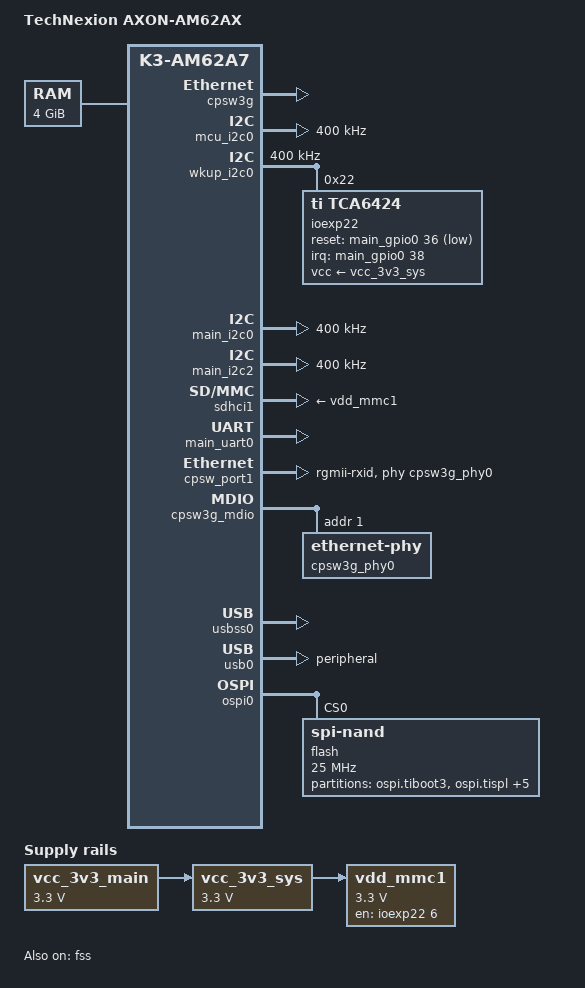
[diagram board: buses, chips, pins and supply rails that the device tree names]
// SPDX-License-Identifier: GPL-2.0
/*
 * Copyright (C) 2022 Texas Instruments Incorporated - https://www.ti.com/\
 * Copyright 2023 TechNexion Ltd.
 * Author: Ray Chang <ray.chang@technexion.com>
 */

/dts-v1/;

#include <dt-bindings/leds/common.h>
#include <dt-bindings/gpio/gpio.h>
#include <dt-bindings/net/ti-dp83867.h>
#include "k3-am62a7.dtsi"

/ {
	compatible =  "technexion,am62a7-axon", "ti,am62a7";
	model = "TechNexion AXON-AM62AX";

	aliases {
		serial2 = &main_uart0;
		mmc0 = &sdhci0;
		mmc1 = &sdhci1;
		remoteproc0 = &mcu_r5fss0_core0;
		remoteproc1 = &c7x_0;
		spi0 = &ospi0;
	};

	chosen {
		stdout-path = "serial2:115200n8";
	};

	memory@80000000 {
		device_type = "memory";
		/* 4G RAM */
		reg = <0x00000000 0x80000000 0x00000000 0x80000000>,
		      <0x00000008 0x80000000 0x00000000 0x80000000>;
	};

	reserved-memory {
		#address-cells = <2>;
		#size-cells = <2>;
		ranges;

		secure_tfa_ddr: tfa@9e780000 {
			reg = <0x00 0x9e780000 0x00 0x80000>;
			alignment = <0x1000>;
			no-map;
		};

		secure_ddr: optee@9e800000 {
			reg = <0x00 0x9e800000 0x00 0x01800000>; /* for OP-TEE */
			alignment = <0x1000>;
			no-map;
		};

		wkup_r5fss0_core0_memory_region: r5f-dma-memory@9c900000 {
			compatible = "shared-dma-pool";
			reg = <0x00 0x9c900000 0x00 0x01e00000>;
			no-map;
		};

		mcu_r5fss0_core0_dma_memory_region: r5f-dma-memory@9b800000 {
			compatible = "shared-dma-pool";
			reg = <0x00 0x9b800000 0x00 0x100000>;
			no-map;
		};

		mcu_r5fss0_core0_memory_region: r5f-dma-memory@9b900000 {
			compatible = "shared-dma-pool";
			reg = <0x00 0x9b900000 0x00 0x0e00000>;
			no-map;
		};

		c7x_0_dma_memory_region: c7x-dma-memory@99800000 {
			compatible = "shared-dma-pool";
			reg = <0x00 0x99800000 0x00 0x100000>;
			no-map;
		};

		c7x_0_memory_region: c7x-memory@99900000 {
			compatible = "shared-dma-pool";
			reg = <0x00 0x99900000 0x00 0x01efffff>;
			no-map;
		};

	};

	vcc_3v3_main: regulator-0 {
		/* Output of TPS62095 */
		compatible = "regulator-fixed";
		regulator-name = "vcc_3v3_main";
		regulator-min-microvolt = <3300000>;
		regulator-max-microvolt = <3300000>;
		regulator-always-on;
		regulator-boot-on;
	};

	vcc_3v3_sys: regulator-1 {
		/* Output of TPS22965 */
		compatible = "regulator-fixed";
		regulator-name = "vcc_3v3_sys";
		regulator-min-microvolt = <3300000>;
		regulator-max-microvolt = <3300000>;
		vin-supply = <&vcc_3v3_main>;
		regulator-always-on;
		regulator-boot-on;
	};

	vdd_mmc1: regulator-2 {
		/* Output of MIC94040 */
		compatible = "regulator-fixed";
		regulator-name = "vdd_mmc1";
		regulator-min-microvolt = <3300000>;
		regulator-max-microvolt = <3300000>;
		regulator-boot-on;
		enable-active-high;
		vin-supply = <&vcc_3v3_sys>;
		gpio = <&ioexp22 6 GPIO_ACTIVE_HIGH>;
	};
};

&mcu_pmx0 {
	status = "okay";

	mcu_i2c0_pins_default: mcu-i2c0-pins-default {
		pinctrl-single,pins = <
			AM62AX_MCU_IOPAD(0x0044, PIN_INPUT, 0) /* (E12) MCU_I2C0_SCL */
			AM62AX_MCU_IOPAD(0x0048, PIN_INPUT, 0) /* (D9) MCU_I2C0_SDA */
		>;
	};

	mcu_uart0_pins_default: mcu-uart0-pins-default {
		pinctrl-single,pins = <
			AM62AX_MCU_IOPAD(0x001c, PIN_INPUT, 0) /* (B11) MCU_UART0_CTSn */
			AM62AX_MCU_IOPAD(0x0020, PIN_OUTPUT, 0) /* (D10) MCU_UART0_RTSn */
			AM62AX_MCU_IOPAD(0x0014, PIN_INPUT, 0) /* (D8) MCU_UART0_RXD */
			AM62AX_MCU_IOPAD(0x0018, PIN_OUTPUT, 0) /* (F8) MCU_UART0_TXD */
		>;
	};

	wkup_i2c0_pins_default: wkup-i2c0-pins-default {
		pinctrl-single,pins = <
			AM62AX_MCU_IOPAD(0x004c, PIN_INPUT, 0) /* (D13) WKUP_I2C0_SCL */
			AM62AX_MCU_IOPAD(0x0050, PIN_INPUT, 0) /* (E13) WKUP_I2C0_SDA */
		>;
	};

	pmic_irq_pins_default: pmic-irq-pins-default {
		pinctrl-single,pins = <
			AM62AX_MCU_IOPAD(0x000, PIN_INPUT, 7) /* (E11) MCU_GPIO0_0 */
		>;
	};
};

&main_pmx0 {
	main_uart0_pins_default: main-uart0-pins-default {
		pinctrl-single,pins = <
			AM62AX_IOPAD(0x01d0, PIN_INPUT, 0) /* (F14) UART0_CTSn */
			AM62AX_IOPAD(0x01d4, PIN_OUTPUT, 0) /* (C15) UART0_RTSn */
			AM62AX_IOPAD(0x01c8, PIN_INPUT, 0) /* (E14) UART0_RXD */
			AM62AX_IOPAD(0x01cc, PIN_OUTPUT, 0) /* (D15) UART0_TXD */
		>;
	};

	main_uart1_pins_default: main-uart1-pins-default {
		pinctrl-single,pins = <
			AM62AX_IOPAD(0x0194, PIN_INPUT, 2) /* (C19) MCASP0_AXR3.UART1_CTSn */
			AM62AX_IOPAD(0x0198, PIN_OUTPUT, 2) /* (B19) MCASP0_AXR2.UART1_RTSn */
			AM62AX_IOPAD(0x01e8, PIN_INPUT, 1) /* (C17) I2C1_SCL.UART1_RXD */
			AM62AX_IOPAD(0x01ec, PIN_OUTPUT, 1) /* (E17) I2C1_SDA.UART1_TXD */
		>;
	};

	main_i2c0_pins_default: main-i2c0-pins-default {
		pinctrl-single,pins = <
			AM62AX_IOPAD(0x01e0, PIN_INPUT_PULLUP, 0) /* (D17) I2C0_SCL */
			AM62AX_IOPAD(0x01e4, PIN_INPUT_PULLUP, 0) /* (E16) I2C0_SDA */
		>;
	};

	main_i2c2_pins_default: main-i2c2-pins-default {
		pinctrl-single,pins = <
			AM62AX_IOPAD(0x00b0, PIN_INPUT_PULLUP, 1) /* (M22) GPMC0_CSn2.I2C2_SCL */
			AM62AX_IOPAD(0x00b4, PIN_INPUT_PULLUP, 1) /* (M20) GPMC0_CSn3.I2C2_SDA */
		>;
	};

	main_mmc0_pins_default: main-mmc0-pins-default {
		pinctrl-single,pins = <
			AM62AX_IOPAD(0x0220, PIN_INPUT, 0) /* (Y6) MMC0_CMD */
			AM62AX_IOPAD(0x0218, PIN_INPUT, 0) /* () MMC0_CLKLB */
			AM62AX_IOPAD(0x0218, PIN_OUTPUT, 0) /* (AB7) MMC0_CLK */
			AM62AX_IOPAD(0x0214, PIN_INPUT, 0) /* (AA6) MMC0_DAT0 */
			AM62AX_IOPAD(0x0210, PIN_INPUT_PULLUP, 0) /* (AB6) MMC0_DAT1 */
			AM62AX_IOPAD(0x020c, PIN_INPUT_PULLUP, 0) /* (Y7) MMC0_DAT2 */
			AM62AX_IOPAD(0x0208, PIN_INPUT_PULLUP, 0) /* (AA7) MMC0_DAT3 */
			AM62AX_IOPAD(0x0204, PIN_INPUT_PULLUP, 0) /* (Y8) MMC0_DAT4 */
			AM62AX_IOPAD(0x0200, PIN_INPUT_PULLUP, 0) /* (W7) MMC0_DAT5 */
			AM62AX_IOPAD(0x01fc, PIN_INPUT_PULLUP, 0) /* (W9) MMC0_DAT6 */
			AM62AX_IOPAD(0x01f8, PIN_INPUT_PULLUP, 0) /* (AB8) MMC0_DAT7 */
		>;
	};

	main_mmc1_pins_default: main-mmc1-pins-default {
		pinctrl-single,pins = <
			AM62AX_IOPAD(0x023c, PIN_INPUT, 0) /* (C21) MMC1_CMD */
			AM62AX_IOPAD(0x0234, PIN_INPUT, 0) /* (E22) MMC1_CLK */
			AM62AX_IOPAD(0x0230, PIN_INPUT, 0) /* (B22) MMC1_DAT0 */
			AM62AX_IOPAD(0x022c, PIN_INPUT_PULLUP, 0) /* (D21) MMC1_DAT1 */
			AM62AX_IOPAD(0x0228, PIN_INPUT_PULLUP, 0) /* (C22) MMC1_DAT2 */
			AM62AX_IOPAD(0x0224, PIN_INPUT_PULLUP, 0) /* (D22) MMC1_DAT3 */
			AM62AX_IOPAD(0x0240, PIN_INPUT, 0) /* (E18) MMC1_SDCD */
		>;
	};

	main_mmc2_pins_default: main-mmc2-pins-default {
		pinctrl-single,pins = <
			AM62AX_IOPAD(0x0120, PIN_INPUT, 0) /* (G22) MMC2_CMD */
			AM62AX_IOPAD(0x0118, PIN_INPUT, 0) /* (H22) MMC2_CLK */
			AM62AX_IOPAD(0x011C, PIN_INPUT, 0) /* () MMC2_CLKLB */
			AM62AX_IOPAD(0x0114, PIN_INPUT, 0) /* (E20) MMC2_DAT0 */
			AM62AX_IOPAD(0x0110, PIN_INPUT_PULLUP, 0) /* (F21) MMC2_DAT1 */
			AM62AX_IOPAD(0x010c, PIN_INPUT_PULLUP, 0) /* (F20) MMC2_DAT2 */
			AM62AX_IOPAD(0x0108, PIN_INPUT_PULLUP, 0) /* (G21) MMC2_DAT3 */
		>;
	};

	wlan_en_pins_default: wlan-en-pins-default {
		pinctrl-single,pins = <
			AM62AX_IOPAD(0x00a8, PIN_OUTPUT_PULLUP, 7) /* (M19) GPMC0_CSn0.GPIO0_41 */
			AM62AX_IOPAD(0x0128, PIN_INPUT, 7) /* (E21) MMC2_SDWP.GPIO0_72 */
		>;
	};

	bt_en_pins_default: bt-en-pins-default {
		pinctrl-single,pins = <
			AM62AX_IOPAD(0x00ac, PIN_OUTPUT_PULLUP, 7) /* (M21) GPMC0_CSn1.GPIO0_42 */
			AM62AX_IOPAD(0x0244, PIN_INPUT, 7) /* (D18) MMC1_SDWP.GPIO1_49 */
		>;
	};

	main_gpio0_ioexp22_ctrl_pins_default: main-gpio0-ioexp22-ctrl-pins-default {
		pinctrl-single,pins = <
			AM62AX_IOPAD(0x0094, PIN_OUTPUT, 7) /* (M18) GPMC0_BE1n.GPIO0_36 */
			AM62AX_IOPAD(0x009c, PIN_INPUT, 7) /* (R17) GPMC0_WAIT1.GPIO0_38 */
		>;
	};

	main_dss0_pins_default: main-dss0-pins-default {
		pinctrl-single,pins = <
			AM62AX_IOPAD(0x0100, PIN_OUTPUT, 0) /* (V17) VOUT0_VSYNC */
			AM62AX_IOPAD(0x00f8, PIN_OUTPUT, 0) /* (T18) VOUT0_HSYNC */
			AM62AX_IOPAD(0x0104, PIN_OUTPUT, 0) /* (AA22) VOUT0_PCLK */
			AM62AX_IOPAD(0x00fc, PIN_OUTPUT, 0) /* (U17) VOUT0_DE */
			AM62AX_IOPAD(0x00b8, PIN_OUTPUT, 0) /* (U22) VOUT0_DATA0 */
			AM62AX_IOPAD(0x00bc, PIN_OUTPUT, 0) /* (U21) VOUT0_DATA1 */
			AM62AX_IOPAD(0x00c0, PIN_OUTPUT, 0) /* (U20) VOUT0_DATA2 */
			AM62AX_IOPAD(0x00c4, PIN_OUTPUT, 0) /* (U19) VOUT0_DATA3 */
			AM62AX_IOPAD(0x00c8, PIN_OUTPUT, 0) /* (T19) VOUT0_DATA4 */
			AM62AX_IOPAD(0x00cc, PIN_OUTPUT, 0) /* (U18) VOUT0_DATA5 */
			AM62AX_IOPAD(0x00d0, PIN_OUTPUT, 0) /* (V22) VOUT0_DATA6 */
			AM62AX_IOPAD(0x00d4, PIN_OUTPUT, 0) /* (V21) VOUT0_DATA7 */
			AM62AX_IOPAD(0x00d8, PIN_OUTPUT, 0) /* (V19) VOUT0_DATA8 */
			AM62AX_IOPAD(0x00dc, PIN_OUTPUT, 0) /* (V18) VOUT0_DATA9 */
			AM62AX_IOPAD(0x00e0, PIN_OUTPUT, 0) /* (W22) VOUT0_DATA10 */
			AM62AX_IOPAD(0x00e4, PIN_OUTPUT, 0) /* (W21) VOUT0_DATA11 */
			AM62AX_IOPAD(0x00e8, PIN_OUTPUT, 0) /* (W20) VOUT0_DATA12 */
			AM62AX_IOPAD(0x00ec, PIN_OUTPUT, 0) /* (W19) VOUT0_DATA13 */
			AM62AX_IOPAD(0x00f0, PIN_OUTPUT, 0) /* (Y21) VOUT0_DATA14 */
			AM62AX_IOPAD(0x00f4, PIN_OUTPUT, 0) /* (Y22) VOUT0_DATA15 */
			AM62AX_IOPAD(0x005c, PIN_OUTPUT, 1) /* (P22) GPMC0_AD8.VOUT0_DATA16 */
			AM62AX_IOPAD(0x0060, PIN_OUTPUT, 1) /* (R19) GPMC0_AD9.VOUT0_DATA17 */
			AM62AX_IOPAD(0x0064, PIN_OUTPUT, 1) /* (R20) GPMC0_AD10.VOUT0_DATA18 */
			AM62AX_IOPAD(0x0068, PIN_OUTPUT, 1) /* (R22) GPMC0_AD11.VOUT0_DATA19 */
			AM62AX_IOPAD(0x006c, PIN_OUTPUT, 1) /* (T22) GPMC0_AD12.VOUT0_DATA20 */
			AM62AX_IOPAD(0x0070, PIN_OUTPUT, 1) /* (R21) GPMC0_AD13.VOUT0_DATA21 */
			AM62AX_IOPAD(0x0074, PIN_OUTPUT, 1) /* (T20) GPMC0_AD14.VOUT0_DATA22 */
			AM62AX_IOPAD(0x0078, PIN_OUTPUT, 1) /* (T21) GPMC0_AD15.VOUT0_DATA23 */
		>;
	};

	ospi0_pins_default: ospi0-pins-default {
		pinctrl-single,pins = <
			AM62AX_IOPAD(0x0000, PIN_OUTPUT, 0) /* (L22) OSPI0_CLK */
			AM62AX_IOPAD(0x002c, PIN_OUTPUT, 0) /* (H21) OSPI0_CSn0 */
			AM62AX_IOPAD(0x000c, PIN_INPUT, 0) /* (J21) OSPI0_D0 */
			AM62AX_IOPAD(0x0010, PIN_INPUT, 0) /* (J18) OSPI0_D1 */
			AM62AX_IOPAD(0x0014, PIN_INPUT, 0) /* (J19) OSPI0_D2 */
			AM62AX_IOPAD(0x0018, PIN_INPUT, 0) /* (H18) OSPI0_D3 */
			AM62AX_IOPAD(0x001c, PIN_INPUT, 0) /* (K21) OSPI0_D4 */
			AM62AX_IOPAD(0x0020, PIN_INPUT, 0) /* (H19) OSPI0_D5 */
			AM62AX_IOPAD(0x0024, PIN_INPUT, 0) /* (J20) OSPI0_D6 */
			AM62AX_IOPAD(0x0028, PIN_INPUT, 0) /* (J22) OSPI0_D7 */
			AM62AX_IOPAD(0x0008, PIN_INPUT, 0) /* (L21) OSPI0_DQS */
			AM62AX_IOPAD(0x0030, PIN_INPUT, 7) /* (G19) OSPI0_CSn1.GPIO0_12 */
			AM62AX_IOPAD(0x0034, PIN_INPUT, 7) /* (K20) OSPI0_CSn2.GPIO0_13 */
		>;
	};

	main_usb1_pins_default: main-usb1-pins-default {
		pinctrl-single,pins = <
			AM62AX_IOPAD(0x0258, PIN_OUTPUT, 0) /* (F18) USB1_DRVVBUS */
		>;
	};

	main_mdio1_pins_default: main-mdio1-pins-default {
		pinctrl-single,pins = <
			AM62AX_IOPAD(0x0160, PIN_OUTPUT, 0) /* (V12) MDIO0_MDC */
			AM62AX_IOPAD(0x015c, PIN_INPUT, 0) /* (V13) MDIO0_MDIO */
		>;
	};

	main_rgmii1_pins_default: main-rgmii1-pins-default {
		pinctrl-single,pins = <
			AM62AX_IOPAD(0x014c, PIN_INPUT, 0) /* (AB16) RGMII1_RD0 */
			AM62AX_IOPAD(0x0150, PIN_INPUT, 0) /* (V15) RGMII1_RD1 */
			AM62AX_IOPAD(0x0154, PIN_INPUT, 0) /* (W15) RGMII1_RD2 */
			AM62AX_IOPAD(0x0158, PIN_INPUT, 0) /* (V14) RGMII1_RD3 */
			AM62AX_IOPAD(0x0148, PIN_INPUT, 0) /* (AA16) RGMII1_RXC */
			AM62AX_IOPAD(0x0144, PIN_INPUT, 0) /* (AA15) RGMII1_RX_CTL */
			AM62AX_IOPAD(0x0134, PIN_INPUT, 0) /* (Y17) RGMII1_TD0 */
			AM62AX_IOPAD(0x0138, PIN_INPUT, 0) /* (V16) RGMII1_TD1 */
			AM62AX_IOPAD(0x013c, PIN_INPUT, 0) /* (Y16) RGMII1_TD2 */
			AM62AX_IOPAD(0x0140, PIN_INPUT, 0) /* (AA17) RGMII1_TD3 */
			AM62AX_IOPAD(0x0130, PIN_INPUT, 0) /* (AB17) RGMII1_TXC */
			AM62AX_IOPAD(0x012c, PIN_INPUT, 0) /* (W16) RGMII1_TX_CTL */
		>;
	};

	main_rgmii2_pins_default: main-rgmii2-pins-default {
		pinctrl-single,pins = <
			AM62AX_IOPAD(0x0184, PIN_INPUT, 0) /* (AA21) RGMII2_RD0 */
			AM62AX_IOPAD(0x0188, PIN_INPUT, 0) /* (Y20) RGMII2_RD1 */
			AM62AX_IOPAD(0x018c, PIN_INPUT, 0) /* (AB21) RGMII2_RD2 */
			AM62AX_IOPAD(0x0190, PIN_INPUT, 0) /* (AB20) RGMII2_RD3 */
			AM62AX_IOPAD(0x0180, PIN_INPUT, 0) /* (AA20) RGMII2_RXC */
			AM62AX_IOPAD(0x017c, PIN_INPUT, 0) /* (W18) RGMII2_RX_CTL */
			AM62AX_IOPAD(0x016c, PIN_INPUT, 0) /* (AA19) RGMII2_TD0 */
			AM62AX_IOPAD(0x0170, PIN_INPUT, 0) /* (Y18) RGMII2_TD1 */
			AM62AX_IOPAD(0x0174, PIN_INPUT, 0) /* (AA18) RGMII2_TD2 */
			AM62AX_IOPAD(0x0178, PIN_INPUT, 0) /* (W17) RGMII2_TD3 */
			AM62AX_IOPAD(0x0168, PIN_INPUT, 0) /* (AB19) RGMII2_TXC */
			AM62AX_IOPAD(0x0164, PIN_INPUT, 0) /* (Y19) RGMII2_TX_CTL */
		>;
	};

	main_mcasp0_pins_default: main-mcasp0-pins-default {
		pinctrl-single,pins = <
			AM62AX_IOPAD(0x01a4, PIN_INPUT, 0) /* (A19) MCASP0_ACLKX */
			AM62AX_IOPAD(0x01a8, PIN_INPUT, 0) /* (A20) MCASP0_AFSX */
			AM62AX_IOPAD(0x01a0, PIN_OUTPUT, 0) /* (B20) MCASP0_AXR0 */
			AM62AX_IOPAD(0x019c, PIN_INPUT, 0) /* (B18) MCASP0_AXR1 */
		>;
	};

	main_mcasp1_pins_default: main-mcasp1-pins-default {
		pinctrl-single,pins = <
			AM62AX_IOPAD(0x0090, PIN_INPUT, 2) /* (L19) GPMC0_BE0n_CLE.MCASP1_ACLKX */
			AM62AX_IOPAD(0x0098, PIN_INPUT, 2) /* (R18) GPMC0_WAIT0.MCASP1_AFSX */
			AM62AX_IOPAD(0x0088, PIN_OUTPUT, 2) /* (L17) GPMC0_OEn_REn.MCASP1_AXR1 */
			AM62AX_IOPAD(0x0084, PIN_INPUT, 2) /* (L18) GPMC0_ADVn_ALE.MCASP1_AXR2 */
		>;
	};
};

&cpsw3g {
	pinctrl-names = "default";
	pinctrl-0 = <&main_mdio1_pins_default
		     &main_rgmii1_pins_default
		     &main_rgmii2_pins_default>;
	status = "okay";
};

/* I2C_C on AXON */
&mcu_i2c0 {
	status = "okay";
	pinctrl-names = "default";
	pinctrl-0 = <&mcu_i2c0_pins_default>;
	clock-frequency = <400000>;
};

/* I2C on SOM */
&wkup_i2c0 {
	status = "okay";
	pinctrl-names = "default";
	pinctrl-0 = <&wkup_i2c0_pins_default>;
	clock-frequency = <400000>;

	ioexp22: pcal6524@22 {
		compatible = "ti,tca6424";
		reg = <0x22>;
		vcc-supply = <&vcc_3v3_sys>;
		pinctrl-names = "default";
		pinctrl-0 = <&main_gpio0_ioexp22_ctrl_pins_default>;
		reset-gpios = <&main_gpio0 36 GPIO_ACTIVE_LOW>;
		interrupt-parent = <&main_gpio0>;
		interrupts = <38 IRQ_TYPE_EDGE_FALLING>;
		gpio-controller;
		#gpio-cells = <2>;
		interrupt-controller;
		#interrupt-cells = <2>;
		gpio-line-names = "VPP_EN", "GPIO_ENET1_RST", "GPIO_ENET2_RST", "", "DISP_BKLEN", "GPIO_X2_P22", "MMC1_SD_EN", "GPIO_eMMC_RSTn",
				   "", "", "", "", "", "", "GPIO_X3_P69", "GPIO_X3_P71",
				   "GPIO_X1_P66", "GPIO_X1_P68", "GPIO_X1_P70", "GPIO_X1_P72", "GPIO_X1_P74", "GPIO_X1_P76", "GPIO_X1_P78", "GPIO_X1_P80";

		enet1-rst {
			gpio-hog;
			gpios = <1 GPIO_ACTIVE_HIGH>;
			output-high;
		};
		enet2-rst {
			gpio-hog;
			gpios = <2 GPIO_ACTIVE_HIGH>;
			output-high;
		};
	};
};


/* I2C_A on AXON */
&main_i2c0 {
	status = "okay";
	pinctrl-names = "default";
	pinctrl-0 = <&main_i2c0_pins_default>;
	clock-frequency = <400000>;
};

/* I2C_B on AXON */
&main_i2c2 {
	status = "okay";
	pinctrl-names = "default";
	pinctrl-0 = <&main_i2c2_pins_default>;
	clock-frequency = <400000>;
};

/* eMMC on SOM */
&sdhci0 {
	pinctrl-names = "default";
	pinctrl-0 = <&main_mmc0_pins_default>;
	ti,driver-strength-ohm = <50>;
	disable-wp;
};

/* SD card on baseboard */
&sdhci1 {
	status = "okay";
	vmmc-supply = <&vdd_mmc1>;
	pinctrl-names = "default";
	pinctrl-0 = <&main_mmc1_pins_default>;
	ti,driver-strength-ohm = <50>;
	disable-wp;
};

&mailbox0_cluster0 {
	mbox_r5_0: mbox-r5-0 {
		ti,mbox-rx = <0 0 0>;
		ti,mbox-tx = <1 0 0>;
	};
};

&mailbox0_cluster1 {
	mbox_c7x_0: mbox-c7x-0 {
		ti,mbox-rx = <0 0 0>;
		ti,mbox-tx = <1 0 0>;
	};
};

&mailbox0_cluster2 {
	mbox_mcu_r5_0: mbox-mcu_r5-0 {
		ti,mbox-rx = <0 0 0>;
		ti,mbox-tx = <1 0 0>;
	};
};

&c7x_0 {
	mboxes = <&mailbox0_cluster1 &mbox_c7x_0>;
	memory-region = <&c7x_0_dma_memory_region>,
			<&c7x_0_memory_region>;
};

&mcu_r5fss0_core0 {
	mboxes = <&mailbox0_cluster2 &mbox_mcu_r5_0>;
	memory-region = <&mcu_r5fss0_core0_dma_memory_region>,
	    <&mcu_r5fss0_core0_memory_region>;
};

&main_gpio0 {
	status = "okay";
};

&main_gpio1 {
	status = "okay";
};

&main_gpio_intr {
	status = "okay";
};

/* UART_A on AXON, console */
&main_uart0 {
	status = "okay";
	pinctrl-names = "default";
	pinctrl-0 = <&main_uart0_pins_default>;
};

&cpsw_port1 {
	phy-mode = "rgmii-rxid";
	phy-handle = <&cpsw3g_phy0>;
};

&cpsw_port2 {
	status = "disabled";
};

&cpsw3g_mdio {
	cpsw3g_phy0: ethernet-phy@1 {
		reg = <1>;
		ti,rx-internal-delay = <DP83867_RGMIIDCTL_2_00_NS>;
		ti,fifo-depth = <DP83867_PHYCR_FIFO_DEPTH_4_B_NIB>;
		ti,min-output-impedance;
	};
};

&usbss0 {
	status = "okay";
	ti,vbus-divider;
};

&usb0 {
	dr_mode = "peripheral";
};

&fss {
	status = "okay";
};

&ospi0 {
	pinctrl-names = "default";
	pinctrl-0 = <&ospi0_pins_default>;

	flash@0{
		compatible = "spi-nand";
		reg = <0x0>;
		spi-tx-bus-width = <8>;
		spi-rx-bus-width = <8>;
		spi-max-frequency = <25000000>;
		cdns,tshsl-ns = <60>;
		cdns,tsd2d-ns = <60>;
		cdns,tchsh-ns = <60>;
		cdns,tslch-ns = <60>;
		cdns,read-delay = <2>;
		cdns,phy-mode;

		partitions {
			compatible = "fixed-partitions";
			#address-cells = <1>;
			#size-cells = <1>;

			partition@0 {
				label = "ospi.tiboot3";
				reg = <0x0 0x80000>;
			};

			partition@80000 {
				label = "ospi.tispl";
				reg = <0x80000 0x200000>;
			};

			partition@280000 {
				label = "ospi.u-boot";
				reg = <0x280000 0x400000>;
			};

			partition@680000 {
				label = "ospi.env";
				reg = <0x680000 0x40000>;
			};

			partition@6c0000 {
				label = "ospi.env.backup";
				reg = <0x6c0000 0x40000>;
			};

			partition@2000000 {
				label = "ospi.rootfs";
				reg = <0x2000000 0x5fc0000>;
			};

			partition@7fc0000 {
				label = "ospi.phypattern";
				reg = <0x7fc0000 0x40000>;
			};
		};
	};
};
